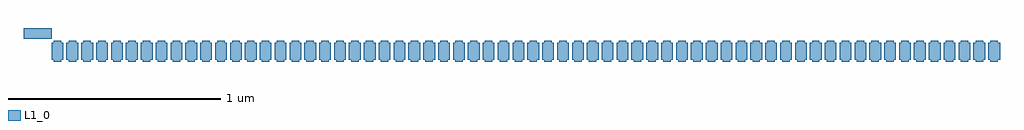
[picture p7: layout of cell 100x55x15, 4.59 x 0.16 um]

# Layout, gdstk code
import gdstk
lib = gdstk.Library(unit=1e-6, precision=1e-09)
def R(c, l, rs):  # rectangles x0, y0, x1, y1
    for r in rs: c.add(gdstk.rectangle(r[:2], r[2:], *l))
def P(c, l, *ps):  # polygons
    for p in ps: c.add(gdstk.Polygon(p, *l))
L1_0 = (1, 0)

c_100x55single = lib.new_cell('100x55single')
P(c_100x55single, L1_0, [(0,0),(0.01,0),(0.01,-0.01),(0.045,-0.01),(0.045,0),(0.055,0),(0.055,0.08),(0.045,0.08),(0.045,0.09),(0.01,0.09),(0.01,0.08),(0,0.08)])

c_100x55x15 = lib.new_cell('100x55x15')
R(c_100x55x15, L1_0, [(-0.13,0.11,0,0.16)])
r = gdstk.Reference(c_100x55single, (0,0.01)); r.repetition = gdstk.Repetition(64, 1, v1=(0.07,0), v2=(0,0)); c_100x55x15.add(r)

lib.write_gds('100x55x15.gds')
